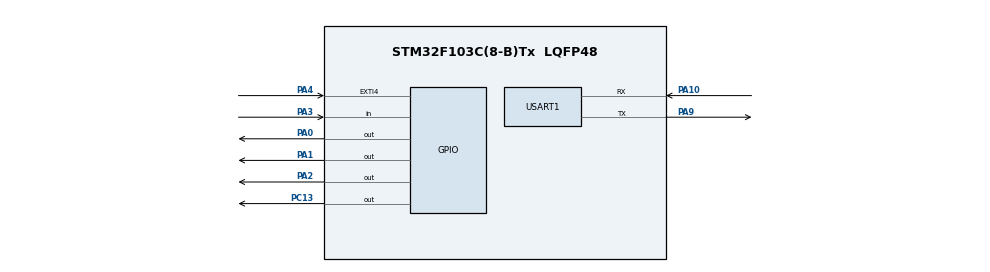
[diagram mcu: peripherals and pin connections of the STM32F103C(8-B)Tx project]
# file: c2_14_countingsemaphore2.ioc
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Mcu.Family=STM32F1
Mcu.Name=STM32F103C(8-B)Tx
Mcu.Package=LQFP48
NVIC.EXTI4_IRQn=true\:0\:0\:false\:false\:true\:true\:true\:true
NVIC.PriorityGroup=NVIC_PRIORITYGROUP_4
NVIC.TIM4_IRQn=true\:15\:0\:false\:false\:true\:false\:true\:true
NVIC.TimeBase=TIM4_IRQn
NVIC.TimeBaseIP=TIM4
NVIC.USART1_IRQn=true\:6\:0\:true\:false\:true\:true\:true\:true
PA0-WKUP.Signal=GPIO_Output
PA1.Signal=GPIO_Output
PA10.Mode=Asynchronous
PA10.Signal=USART1_RX
PA2.Signal=GPIO_Output
PA3.Signal=GPIO_Input
PA4.Signal=GPXTI4
PA9.Mode=Asynchronous
PA9.Signal=USART1_TX
PC13-TAMPER-RTC.Signal=GPIO_Output
ProjectManager.HeapSize=0x200
ProjectManager.StackSize=0x400
ProjectManager.TargetToolchain=STM32CubeIDE
RCC.APB1Freq_Value=8000000
RCC.APB2Freq_Value=8000000
USART1.VirtualMode=VM_ASYNC
VP_SYS_VS_ND.Mode=No_Debug
VP_SYS_VS_tim4.Mode=TIM4
board=custom

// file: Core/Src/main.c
/* USER CODE BEGIN Header */
/**
  ******************************************************************************
  * @file           : main.c
  * @brief          : Main program body
  ******************************************************************************
  * @attention
  *
  * Copyright (c) 2025 STMicroelectronics.
  * All rights reserved.
  *
  * This software is licensed under terms that can be found in the LICENSE file
  * in the root directory of this software component.
  * If no LICENSE file comes with this software, it is provided AS-IS.
  *
  ******************************************************************************
  */
/* USER CODE END Header */
#include "main.h"

/* USER CODE BEGIN Includes */
#include "FreeRTOS.h"
#include "task.h"
#include "queue.h"
#include "semphr.h"
/* USER CODE END Includes */

UART_HandleTypeDef huart1;

void SystemClock_Config(void);
static void MX_GPIO_Init(void);
static void MX_USART1_UART_Init(void);
/* USER CODE BEGIN PFP */
void HAL_GPIO_EXTI_Callback(uint16_t GPIO_Pin);
void led_handler(void *pvparameter);

/* USER CODE END PFP */

/* USER CODE BEGIN 0 */
TaskHandle_t led_handle;
SemaphoreHandle_t xsema_button;
/* USER CODE END 0 */

int main(void)
{

  /* USER CODE BEGIN 1 */
	BaseType_t status;
  /* USER CODE END 1 */

  /* MCU Configuration--------------------------------------------------------*/

  /* Reset of all peripherals, Initializes the Flash interface and the Systick. */
  HAL_Init();

  /* Configure the system clock */
  SystemClock_Config();

  /* Initialize all configured peripherals */
  MX_GPIO_Init();

  MX_USART1_UART_Init();
  /* USER CODE BEGIN 2 */
  HAL_GPIO_WritePin(GPIOC, GPIO_PIN_13, GPIO_PIN_SET);

  HAL_NVIC_SetPriority(EXTI4_IRQn, 6, 0);

  status = xTaskCreate(led_handler, "led_task", 200, NULL, 2, &led_handle);
  configASSERT(status == pdPASS);

  xsema_button = xSemaphoreCreateCounting(9,0);
  configASSERT(xsema_button != NULL);

  HAL_UART_Transmit(&huart1, "Scheduled\n\r", 11, 1000);
  HAL_GPIO_WritePin(GPIOC, GPIO_PIN_13, GPIO_PIN_RESET);
  vTaskStartScheduler();

  /* USER CODE END 2 */

  /* Infinite loop */
  while (1)
  {

  }
}

void SystemClock_Config(void)
{
  RCC_OscInitTypeDef RCC_OscInitStruct = {0};
  RCC_ClkInitTypeDef RCC_ClkInitStruct = {0};

  /** Initializes the RCC Oscillators according to the specified parameters
  * in the RCC_OscInitTypeDef structure.
  */
  RCC_OscInitStruct.OscillatorType = RCC_OSCILLATORTYPE_HSI;
  RCC_OscInitStruct.HSIState = RCC_HSI_ON;
  RCC_OscInitStruct.HSICalibrationValue = RCC_HSICALIBRATION_DEFAULT;
  RCC_OscInitStruct.PLL.PLLState = RCC_PLL_NONE;
  if (HAL_RCC_OscConfig(&RCC_OscInitStruct) != HAL_OK)
  {
    Error_Handler();
  }

  /** Initializes the CPU, AHB and APB buses clocks
  */
  RCC_ClkInitStruct.ClockType = RCC_CLOCKTYPE_HCLK|RCC_CLOCKTYPE_SYSCLK
                              |RCC_CLOCKTYPE_PCLK1|RCC_CLOCKTYPE_PCLK2;
  RCC_ClkInitStruct.SYSCLKSource = RCC_SYSCLKSOURCE_HSI;
  RCC_ClkInitStruct.AHBCLKDivider = RCC_SYSCLK_DIV1;
  RCC_ClkInitStruct.APB1CLKDivider = RCC_HCLK_DIV1;
  RCC_ClkInitStruct.APB2CLKDivider = RCC_HCLK_DIV1;

  if (HAL_RCC_ClockConfig(&RCC_ClkInitStruct, FLASH_LATENCY_0) != HAL_OK)
  {
    Error_Handler();
  }
}

static void MX_USART1_UART_Init(void)
{

  huart1.Instance = USART1;
  huart1.Init.BaudRate = 115200;
  huart1.Init.WordLength = UART_WORDLENGTH_8B;
  huart1.Init.StopBits = UART_STOPBITS_1;
  huart1.Init.Parity = UART_PARITY_NONE;
  huart1.Init.Mode = UART_MODE_TX_RX;
  huart1.Init.HwFlowCtl = UART_HWCONTROL_NONE;
  huart1.Init.OverSampling = UART_OVERSAMPLING_16;
  if (HAL_UART_Init(&huart1) != HAL_OK)
  {
    Error_Handler();
  }

}

static void MX_GPIO_Init(void)
{
  GPIO_InitTypeDef GPIO_InitStruct = {0};

  /* GPIO Ports Clock Enable */
  __HAL_RCC_GPIOC_CLK_ENABLE();
  __HAL_RCC_GPIOA_CLK_ENABLE();

  /*Configure GPIO pin Output Level */

  /*Configure GPIO pin Output Level */
  HAL_GPIO_WritePin(GPIOA, GPIO_PIN_0|GPIO_PIN_1|GPIO_PIN_2, GPIO_PIN_RESET);

  /*Configure GPIO pin : PC13 */
  GPIO_InitStruct.Pin = GPIO_PIN_13;
  GPIO_InitStruct.Mode = GPIO_MODE_OUTPUT_PP;
  GPIO_InitStruct.Pull = GPIO_NOPULL;
  GPIO_InitStruct.Speed = GPIO_SPEED_FREQ_LOW;
  HAL_GPIO_Init(GPIOC, &GPIO_InitStruct);

  /*Configure GPIO pins : PA0 PA1 PA2 */
  GPIO_InitStruct.Pin = GPIO_PIN_0|GPIO_PIN_1|GPIO_PIN_2;
  GPIO_InitStruct.Mode = GPIO_MODE_OUTPUT_PP;
  GPIO_InitStruct.Pull = GPIO_NOPULL;
  GPIO_InitStruct.Speed = GPIO_SPEED_FREQ_LOW;
  HAL_GPIO_Init(GPIOA, &GPIO_InitStruct);

  /*Configure GPIO pin : PA3 */
  GPIO_InitStruct.Pin = GPIO_PIN_3;
  GPIO_InitStruct.Mode = GPIO_MODE_INPUT;
  GPIO_InitStruct.Pull = GPIO_NOPULL;
  HAL_GPIO_Init(GPIOA, &GPIO_InitStruct);

  /*Configure GPIO pin : PA4 */
  GPIO_InitStruct.Pin = GPIO_PIN_4;
  GPIO_InitStruct.Mode = GPIO_MODE_IT_RISING;
  GPIO_InitStruct.Pull = GPIO_NOPULL;
  HAL_GPIO_Init(GPIOA, &GPIO_InitStruct);

  /* EXTI interrupt init*/
  HAL_NVIC_SetPriority(EXTI4_IRQn, 6, 0);
  HAL_NVIC_EnableIRQ(EXTI4_IRQn);

}

/* USER CODE BEGIN 4 */

void HAL_GPIO_EXTI_Callback(uint16_t GPIO_Pin){
	BaseType_t xHigherPriorityTaskWoken = pdFALSE;
	if (GPIO_Pin == GPIO_PIN_4){
		xSemaphoreGiveFromISR(xsema_button,&xHigherPriorityTaskWoken);
		portYIELD_FROM_ISR( xHigherPriorityTaskWoken );

//		xSemaphoreGiveFromISR(xsema_button,NULL);

	}
}

void led_handler(void *pvparameter)
{
	unsigned int count =0;
	while(1){
		xSemaphoreTake(xsema_button,portMAX_DELAY);
		count = uxSemaphoreGetCount(xsema_button);
		count +=0x30;
		HAL_UART_Transmit(&huart1, (uint8_t*)&count, 1, 1000);
		HAL_GPIO_TogglePin(GPIOA, GPIO_PIN_0);
		vTaskDelay(pdMS_TO_TICKS(1000));
	}
}

/* USER CODE END 4 */

void HAL_TIM_PeriodElapsedCallback(TIM_HandleTypeDef *htim)
{
  if (htim->Instance == TIM4)
  {
    HAL_IncTick();
  }
}

void Error_Handler(void)
{
  __disable_irq();
  while (1)
  {
  }
}
